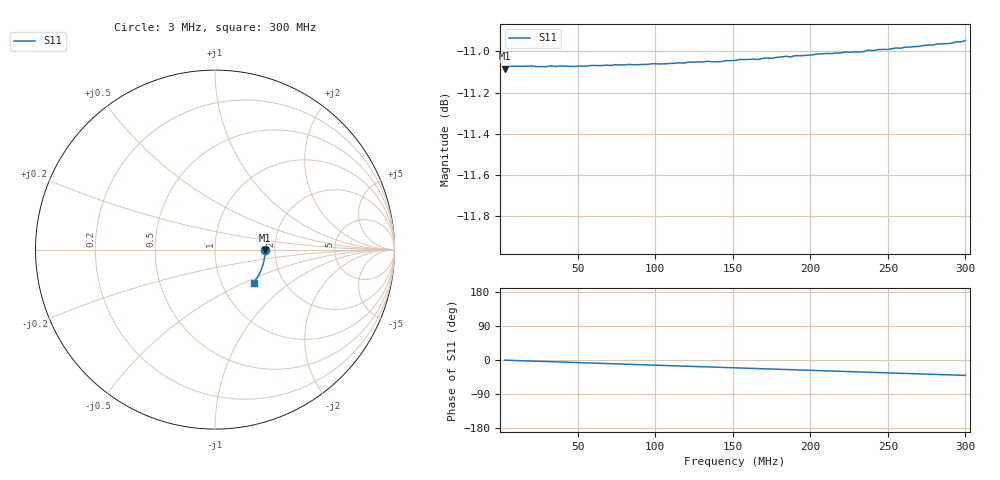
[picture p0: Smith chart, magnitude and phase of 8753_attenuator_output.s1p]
!Created with skrf (http://scikit-rf.org).
# GHz S RI R 50.0
!freq ReS11 ImS11
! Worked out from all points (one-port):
!   101 points, 3 MHz to 300 MHz, reference 50 ohm
!   lowest |S11| = -11.1 dB at 3 MHz (marker M1), VSWR 1.77, Z = 88.7 - j0.358 ohm
!   |S11| at or under -10 dB: start of sweep to end of sweep
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0.003  0.2791 -0.00186
0.00597  0.2795 -0.00391
0.02082  0.2792 -0.0139
0.02973  0.2787 -0.0198
0.0327  0.2787 -0.0218
0.04161  0.2782 -0.0277
0.04755  0.2777 -0.0317
0.05943  0.2768 -0.0396
0.07725  0.275 -0.0512
0.09804  0.2723 -0.0648
0.11586  0.2695 -0.0763
0.13368  0.2662 -0.0877
0.14259  0.2643 -0.0932
0.1515  0.2624 -0.0988
0.15447  0.2618 -0.1009
0.16635  0.2589 -0.1082
0.18417  0.2546 -0.1191
0.18714  0.2537 -0.1208
0.19011  0.2529 -0.1228
0.20496  0.2488 -0.1316
0.22575  0.2422 -0.1438
0.23169  0.2402 -0.1472
0.23763  0.2384 -0.1507
0.2406  0.2373 -0.1523
0.26436  0.2289 -0.1655
0.28218  0.2222 -0.1753
0.29109  0.2186 -0.18
0.3  0.2151 -0.1848
